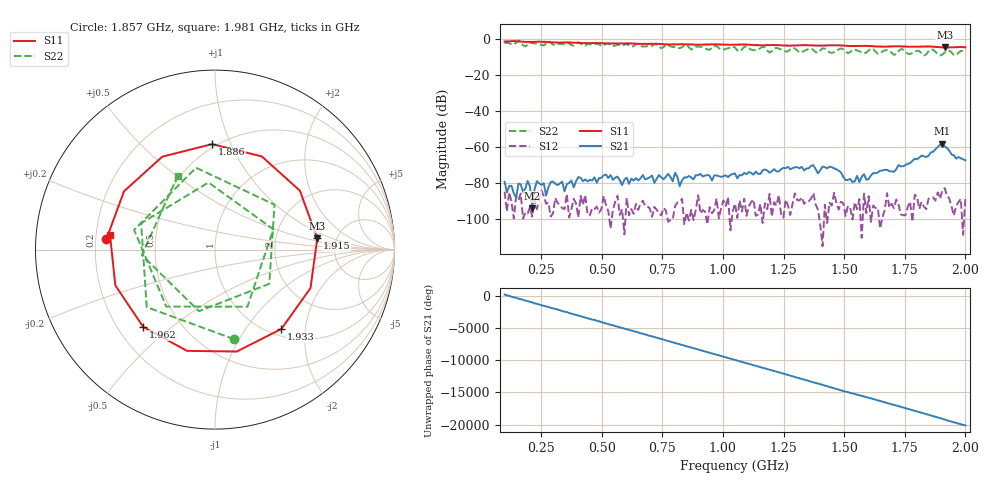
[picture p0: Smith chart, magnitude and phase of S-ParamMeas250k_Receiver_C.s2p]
!Keysight Technologies,N5242B,MY48420967,A.15.65.19
!Date: Saturday, February 04, 2023 15:18:35
!Correction: S11(C  1-Port  )
!S21(Off)
!S12(Off)
!S22(Off)
!S2P File: Measurements: S11, S21, S12, S22:
# Hz S  dB  R 50
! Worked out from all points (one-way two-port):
!   201 points, 100 MHz to 2 GHz, reference 50 ohm
!   highest |S21| = -58.39 dB at 1.905 GHz (marker M1); lowest = -94.2 dB at 214 MHz (marker M2)
!   lowest |S11| = -4.8 dB at 1.915 GHz (marker M3), VSWR 3.69, Z = 178 + j33.3 ohm
!   |S11| at or under -10 dB: nowhere
!   |S22| runs from -9.3 to -0.9 dB; largest |S21 - S12| = 0.0013
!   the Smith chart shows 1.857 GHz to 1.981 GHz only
!   S11 on the Smith chart (normalised r, x): 1.857 GHz: 0.24, +0.04; 1.886 GHz: 0.47, +0.85; 1.915 GHz: 3.55, +0.67; 1.933 GHz: 1.13, -1.49; 1.962 GHz: 0.30, -0.40; 1.981 GHz: 0.26, +0.06
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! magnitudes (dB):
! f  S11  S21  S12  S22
! 100 MHz  -1.5  -79.5  -85.0  -2.3
! 214 MHz  -1.7  -94.2  -98.9  -2.4
! 423 MHz  -2.5  -79.2  -92.3  -3.8
! 670 MHz  -2.8  -75.8  -90.0  -4.3
! 717.5 MHz  -2.7  -80.1  -93.5  -3.1
! 736.5 MHz  -2.9  -75.8  -97.1  -4.3
! 793.5 MHz  -3.1  -79.3  -100.3  -4.6
! 803 MHz  -3.1  -74.5  -92.9  -4.6
! 822 MHz  -3.0  -81.9  -90.6  -5.2
! 1.05 GHz  -3.3  -74.8  -91.6  -4.8
! 1.373 GHz  -3.7  -70.3  -85.7  -6.1
! 1.392 GHz  -3.8  -74.8  -95.0  -7.8
! 1.534 GHz  -4.0  -79.7  -100.4  -6.3
! 1.687 GHz  -4.2  -73.6  -93.9  -6.7
! 1.857 GHz  -4.3  -63.2  -88.1  -5.8
! 1.886 GHz  -4.6  -60.2  -85.4  -8.5
! 1.905 GHz  -4.8  -58.4  -84.2  -8.7
! 1.915 GHz  -4.8  -59.8  -83.0  -7.6
! 1.933 GHz  -4.8  -62.2  -88.8  -6.6
! 1.962 GHz  -4.6  -66.7  -92.8  -9.0
! 1.981 GHz  -4.6  -66.4  -89.0  -6.8
! 2 GHz  -4.7  -67.6  -88.2  -7.6
